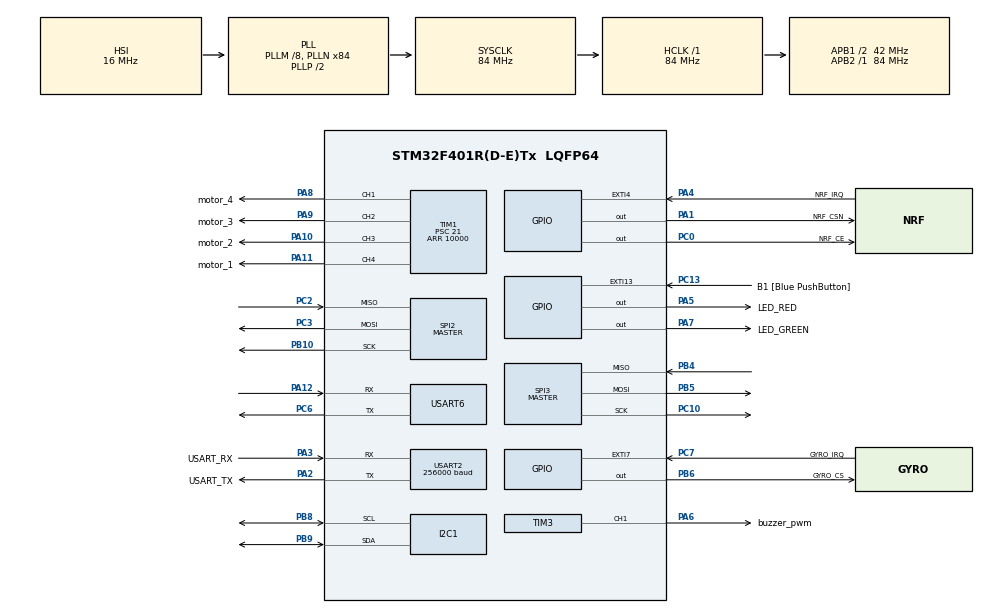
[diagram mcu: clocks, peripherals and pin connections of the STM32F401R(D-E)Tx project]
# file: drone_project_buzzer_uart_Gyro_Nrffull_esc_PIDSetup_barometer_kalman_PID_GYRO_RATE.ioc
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Mcu.Family=STM32F4
Mcu.Name=STM32F401R(D-E)Tx
Mcu.Package=LQFP64
NVIC.EXTI4_IRQn=true\:0\:0\:false\:false\:true\:true\:true\:true
NVIC.EXTI9_5_IRQn=true\:0\:0\:false\:false\:true\:true\:true\:true
NVIC.PriorityGroup=NVIC_PRIORITYGROUP_0
NVIC.TIM2_IRQn=true\:0\:0\:false\:false\:true\:true\:true\:true
NVIC.USART2_IRQn=true\:0\:0\:false\:false\:true\:true\:true\:true
PA1.GPIO_Label=NRF_CSN
PA1.Signal=GPIO_Output
PA10.GPIO_Label=motor_2
PA10.Signal=S_TIM1_CH3
PA11.GPIO_Label=motor_1
PA11.Signal=S_TIM1_CH4
PA12.Mode=Asynchronous
PA12.Signal=USART6_RX
PA13.GPIO_Label=TMS
PA13.Signal=SYS_JTMS-SWDIO
PA14.GPIO_Label=TCK
PA14.Signal=SYS_JTCK-SWCLK
PA2.GPIO_Label=USART_TX
PA2.GPIO_Mode=GPIO_MODE_AF_PP
PA2.GPIO_PuPd=GPIO_NOPULL
PA2.GPIO_Speed=GPIO_SPEED_FREQ_LOW
PA2.Mode=Asynchronous
PA2.Signal=USART2_TX
PA3.GPIO_Label=USART_RX
PA3.GPIO_Mode=GPIO_MODE_AF_PP
PA3.GPIO_PuPd=GPIO_NOPULL
PA3.GPIO_Speed=GPIO_SPEED_FREQ_LOW
PA3.Mode=Asynchronous
PA3.Signal=USART2_RX
PA4.GPIO_Label=NRF_IRQ
PA4.GPIO_ModeDefaultEXTI=GPIO_MODE_IT_FALLING
PA4.Signal=GPXTI4
PA5.GPIO_Label=LED_RED
PA5.GPIO_Mode=GPIO_MODE_OUTPUT_PP
PA5.GPIO_PuPd=GPIO_NOPULL
PA5.GPIO_Speed=GPIO_SPEED_FREQ_LOW
PA5.Signal=GPIO_Output
PA6.GPIO_Label=buzzer_pwm
PA6.Signal=S_TIM3_CH1
PA7.GPIO_Label=LED_GREEN
PA7.Signal=GPIO_Output
PA8.GPIO_Label=motor_4
PA8.Signal=S_TIM1_CH1
PA9.GPIO_Label=motor_3
PA9.Signal=S_TIM1_CH2
PB10.Mode=Full_Duplex_Master
PB10.Signal=SPI2_SCK
PB3.GPIO_Label=SWO
PB3.Signal=SYS_JTDO-SWO
PB4.Mode=Full_Duplex_Master
PB4.Signal=SPI3_MISO
PB5.Mode=Full_Duplex_Master
PB5.Signal=SPI3_MOSI
PB6.GPIO_Label=GYRO_CS
PB6.GPIO_PuPd=GPIO_NOPULL
PB6.Signal=GPIO_Output
PB8.GPIO_Pu=GPIO_PULLUP
PB8.Mode=I2C
PB8.Signal=I2C1_SCL
PB9.GPIO_Pu=GPIO_PULLUP
PB9.Mode=I2C
PB9.Signal=I2C1_SDA
PC0.GPIO_Label=NRF_CE
PC0.Signal=GPIO_Output
PC10.Mode=Full_Duplex_Master
PC10.Signal=SPI3_SCK
PC13-ANTI_TAMP.GPIO_Label=B1 [Blue PushButton]
PC13-ANTI_TAMP.GPIO_ModeDefaultEXTI=GPIO_MODE_IT_FALLING
PC13-ANTI_TAMP.GPIO_PuPd=GPIO_NOPULL
PC13-ANTI_TAMP.Signal=GPXTI13
PC14-OSC32_IN.Signal=RCC_OSC32_IN
PC15-OSC32_OUT.Signal=RCC_OSC32_OUT
PC2.Mode=Full_Duplex_Master
PC2.Signal=SPI2_MISO
PC3.Mode=Full_Duplex_Master
PC3.Signal=SPI2_MOSI
PC6.Mode=Asynchronous
PC6.Signal=USART6_TX
PC7.GPIO_Label=GYRO_IRQ
PC7.Signal=GPXTI7
PH0\ -\ OSC_IN.Mode=HSE-External-Clock-Source
PH0\ -\ OSC_IN.Signal=RCC_OSC_IN
PH1\ -\ OSC_OUT.Mode=HSE-External-Clock-Source
PH1\ -\ OSC_OUT.Signal=RCC_OSC_OUT
ProjectManager.HeapSize=0x200
ProjectManager.StackSize=0x400
ProjectManager.TargetToolchain=STM32CubeIDE
RCC.48MHZClocksFreq_Value=24000000
RCC.AHBFreq_Value=84000000
RCC.APB1CLKDivider=RCC_HCLK_DIV2
RCC.APB1Freq_Value=42000000
RCC.APB1TimFreq_Value=84000000
RCC.APB2Freq_Value=84000000
RCC.APB2TimFreq_Value=84000000
RCC.CortexFreq_Value=84000000
RCC.HCLKFreq_Value=84000000
RCC.HSE_VALUE=8000000
RCC.HSI_VALUE=16000000
RCC.LSE_VALUE=32768
RCC.PLLM=8
RCC.PLLN=84
RCC.PLLQ=7
RCC.SYSCLKFreq_VALUE=84000000
RCC.SYSCLKSource=RCC_SYSCLKSOURCE_PLLCLK
RCC.VCOOutputFreq_Value=168000000
SH.S_TIM1_CH1.0=TIM1_CH1,PWM Generation1 CH1
SH.S_TIM1_CH2.0=TIM1_CH2,PWM Generation2 CH2
SH.S_TIM1_CH3.0=TIM1_CH3,PWM Generation3 CH3
SH.S_TIM1_CH4.0=TIM1_CH4,PWM Generation4 CH4
SH.S_TIM3_CH1.0=TIM3_CH1,PWM Generation1 CH1
SPI2.BaudRatePrescaler=SPI_BAUDRATEPRESCALER_4
SPI2.Direction=SPI_DIRECTION_2LINES
SPI2.Mode=SPI_MODE_MASTER
SPI2.VirtualType=VM_MASTER
SPI3.BaudRatePrescaler=SPI_BAUDRATEPRESCALER_8
SPI3.Direction=SPI_DIRECTION_2LINES
SPI3.Mode=SPI_MODE_MASTER
SPI3.VirtualType=VM_MASTER
STMicroelectronics.X-CUBE-ALGOBUILD.1.3.0.LibraryCcDSPOoLibraryJjDSPOoLibrary=true
TIM1.AutoReloadPreload=TIM_AUTORELOAD_PRELOAD_ENABLE
TIM1.Channel-PWM\ Generation1\ CH1=TIM_CHANNEL_1
TIM1.Channel-PWM\ Generation2\ CH2=TIM_CHANNEL_2
TIM1.Channel-PWM\ Generation3\ CH3=TIM_CHANNEL_3
TIM1.Channel-PWM\ Generation4\ CH4=TIM_CHANNEL_4
TIM1.ClockDivision=TIM_CLOCKDIVISION_DIV1
TIM1.Period=10000
TIM1.Prescaler=21
TIM1.Pulse-PWM\ Generation1\ CH1=4000
TIM1.Pulse-PWM\ Generation2\ CH2=4000
TIM1.Pulse-PWM\ Generation3\ CH3=4000
TIM1.Pulse-PWM\ Generation4\ CH4=4000
TIM2.Period=84000
TIM3.AutoReloadPreload=TIM_AUTORELOAD_PRELOAD_ENABLE
TIM3.Channel-PWM\ Generation1\ CH1=TIM_CHANNEL_1
TIM3.Period=21
TIM3.Prescaler=999
TIM3.Pulse-PWM\ Generation1\ CH1=11
USART2.BaudRate=256000
USART2.VirtualMode=VM_ASYNC
USART6.VirtualMode=VM_ASYNC
VP_STMicroelectronics.X-CUBE-ALGOBUILD_VS_DSPOoLibraryJjLibrary_1.3.0_1.3.0.Mode=DSPOoLibraryJjLibrary
VP_TIM1_VS_ClockSourceINT.Mode=Internal
VP_TIM2_VS_ClockSourceINT.Mode=Internal
VP_TIM3_VS_ClockSourceINT.Mode=Internal
board=NUCLEO-F401RE

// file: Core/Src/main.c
/* USER CODE BEGIN Header */
/**
  ******************************************************************************
  * @file           : main.c
  * @brief          : Main program body
  ******************************************************************************
  * @attention
  *
  * Copyright (c) 2024 STMicroelectronics.
  * All rights reserved.
  *
  * This software is licensed under terms that can be found in the LICENSE file
  * in the root directory of this software component.
  * If no LICENSE file comes with this software, it is provided AS-IS.
  *
  ******************************************************************************
  */
/* USER CODE END Header */
#include "main.h"
#include "i2c.h"
#include "spi.h"
#include "tim.h"
#include "usart.h"
#include "gpio.h"

/* USER CODE BEGIN Includes */
#include <stdio.h>
#include "mpu6500.h"
#include "nrf24l01.h"
#include "fc.h"
#include <math.h>
#define ARM_MATH_CM4
#include "arm_math.h"
#include "kalman.h"
#include "pid.h"
//#define TRANSMITTER or RECEIVER
#define RECEIVER

/* USER CODE END Includes */

/* USER CODE BEGIN PV */

/////////////////// USART variables /////////////////////////////////////////////

uint16_t usart_data_req = 0 ;
uint8_t usart_rx_data  = 0;
uint8_t Transmitter_Rx_flag = 0;
uint8_t RxNumber = 10;
uint16_t RxBuffer[NRF24L01_PAYLOAD_LENGTH /2] = { 0};

float gx, gy, gz ;
float ax, ay, az ;
int16_t throttle = 0, yaw = 0, pitch = 0, roll = 0;

////////////////// TIMERS variables //////////////////////////////////////////////
uint8_t pid_1ms_flag = 0 ;
uint8_t esc_calib_flag = 0;
uint8_t arming_flag_2sec = 0 ;
uint8_t timer_counter_200ms = 0 ;
uint8_t timer_counter_flag_200ms = 0 ;
uint8_t mpu_update = 0;

uint32_t ccr1 = 0 ;
uint32_t ccr2 = 0 ;
uint32_t ccr3 = 0 ;
uint32_t ccr4 = 0 ;
//////////////////////////////////////////////////////////////////////////////////

float pitch_acc = 0 ;
float roll_acc = 0;

////////////////// Kalman variables //////////////////////////////////////////////
extern float kalman_angle_out_pitch[2] ;
extern float kalman_angle_out_roll[2]  ;
float kalman_state_roll = 0, kalman_uncertanity_roll = 2.3*2.3 ;
float kalman_state_pitch = 0, kalman_uncertanity_pitch = 2.3*2.3 ;
///////////////////////////////////////////////////////////////////////////////////

//////////////// PID varaiables ///////////////////////////////////////////////////

float pitch_previous = 0 ;
float roll_previous  = 0 ;
float yaw_previous = 0 ;

float pitch_D_previous = 0;
float roll_D_previous = 0;
float yaw_D_previous = 0;

float PID_rate_pitch_OUT = 0 ;
float PID_rate_yaw_OUT = 0 ;
float PID_rate_roll_OUT = 0 ;

/////////////////////////////////////////////////////////////////

float desired_angle_yaw   = 0 ;
float desired_angle_pitch = 0 ;
float desired_angle_roll  = 0 ;

///////////////////////////////////////////////////////////////////////////////////

/* USER CODE END PV */

void SystemClock_Config(void);
/* USER CODE BEGIN PFP */

void Custom_GPIO_EXTI_Callback(uint16_t GPIO_Pin);

/* USER CODE END PFP */

/* USER CODE BEGIN 0 */

int __io_putchar(int ch){
	while( !(LL_USART_IsActiveFlag_TXE(USART2))) ;
    LL_USART_TransmitData8(USART2, ch) ;
    return ch ;
}

void Custom_GPIO_EXTI_Callback(uint16_t GPIO_Pin) {
	if(GPIO_Pin == NRF_IRQ_Pin)
	{
		Transmitter_Rx_flag =1;
		NRF24L01_RxReceive((uint8_t *)RxBuffer, &RxNumber, 2000);

	}
}

/* USER CODE END 0 */

int main(void)
{

  /* MCU Configuration--------------------------------------------------------*/

  /* Reset of all peripherals, Initializes the Flash interface and the Systick. */
  HAL_Init();

  /* Configure the system clock */
  SystemClock_Config();

  /* Initialize all configured peripherals */
  MX_GPIO_Init();
  MX_SPI2_Init();
  MX_SPI3_Init();
  MX_TIM1_Init();
  MX_TIM3_Init();
  MX_USART2_UART_Init();
  MX_TIM2_Init();
  MX_USART6_UART_Init();
  MX_I2C1_Init();
  /* USER CODE BEGIN 2 */
  HAL_Init();
  LL_USART_EnableIT_RXNE(USART2) ;
//  BUZZER_POWER_UP(1)
  HAL_Delay(100) ;
  mpu_init(SPI3 , GFS_2000DPS ,AFS_16G) ;
  calib_mpu() ;
  _blink_lights(1)
  _wireless_setup(1)
  LL_TIM_EnableIT_UPDATE(TIM2) ;
  LL_TIM_EnableCounter(TIM2) ;

  /* USER CODE END 2 */

  /* Infinite loop */
  while (1)
  {

    /* USER CODE BEGIN 3 */

	  if (usart_data_req == 1 ) {
		usart_data_req = 0  ;
		usart_rx_data = LL_USART_ReceiveData8(USART2);
        LL_USART_TransmitData8(USART2, usart_rx_data) ;

	switch (usart_rx_data) {
		case '0':
			 LL_GPIO_TogglePin(LED_RED_GPIO_Port, LED_RED_Pin | LED_GREEN_Pin);
			break;
		case '1':
			 LL_TIM_CC_EnableChannel(TIM3, LL_TIM_CHANNEL_CH1);
			break;
		case '2':
			 LL_TIM_CC_DisableChannel(TIM3, LL_TIM_CHANNEL_CH1);
			break;
		case '3' :
			esc_calib_flag = 1;
			BUZZER_CALIB_MODE(1) ;
			break ;

       }
	}

  if (Transmitter_Rx_flag == 1) {
	  throttle = RxBuffer[0] ;
	  throttle = throttle < 4 ? 0 : throttle ;
	  throttle = throttle >4001 ? 4000 : throttle ;

	  yaw      = RxBuffer[1] - (uint16_t)2050 ;
	  yaw  = (( 8 > yaw )&&( yaw > -6 ))? 0 : yaw ;
      yaw  = yaw > 2001? 2000 : yaw;
      yaw  = yaw < -2001? -2000 : yaw;

	  pitch    = RxBuffer[2] - (uint16_t)2065 ;
	  pitch  = (( 8 > pitch) &&( pitch > -4 ))? 0 : pitch ;
	  pitch  = pitch > 2001? 2000 : pitch;
	  pitch  = pitch < -2001? -2000 : pitch;

	  if (RxBuffer[3] == 8000) {
		  _esc_desetup_(1) ;
		  RxBuffer[3]= 2110 ;
		  arming_flag_2sec = 0 ;
		  BUZZER_UNARMED(1) ;
		  LL_GPIO_ResetOutputPin(LED_GREEN_GPIO_Port, LED_GREEN_Pin) ;

		}else{
		  roll = RxBuffer[3] - (uint16_t)2110 ;
		}
	  roll  = (( 5 > roll )&&( roll > -5) )? 0 : roll;
	  roll  = roll> 2001? 2000 : roll;
	  roll  = roll< -2001? -2000 : roll;

	  desired_angle_pitch = pitch*0.0150 ;
	  desired_angle_roll = roll *0.0150 ;
	  desired_angle_yaw = yaw *0.0150 ;

	  Transmitter_Rx_flag = 0;
   }

	if (arming_flag_2sec == 0 && (( throttle <= 0 ) && (yaw >= 1950) && (pitch <= -1950) && (roll >= 1950))) {
	  // allow the motors to turn on
	  HAL_Delay(1000) ;
	  if (arming_flag_2sec == 0 && (( throttle <= 0 ) && (yaw >= 1950) && (pitch <= -1950) && (roll >= 1950))) {
	      BUZZER_ARMED(1) ;
	      arming_flag_2sec = 1;
	      LL_GPIO_SetOutputPin(LED_GREEN_GPIO_Port, LED_GREEN_Pin) ;
	      _esc_setup_(1) ;
	  }
}

  if (arming_flag_2sec == 1 && (( throttle <= 0 ) && (yaw <= -1950)&& (pitch <= -1950) && (roll <= -1950))) {
	  // allow the motors to turn off
	  _esc_desetup_(1) ;
	  arming_flag_2sec = 0 ;
	  BUZZER_UNARMED(1) ;
	  LL_GPIO_ResetOutputPin(LED_GREEN_GPIO_Port, LED_GREEN_Pin) ;

}

//  acc_gravity = ( -cosf(pitch_acc)*ax + ay*(cosf(pitch_acc) * sinf(roll_acc)) + az*(cosf(pitch_acc) * cosf(roll_acc) ) ) ;
//	acc_gravity = (acc_gravity - 1)* 9.81*100 ;
//	vertical_velocity = vertical_velocity + acc_gravity*0.001 ;

	if (mpu_update == 1) {
		mpu_update = 0 ;
		readSensor() ;
		getGyro(&gx, &gy, &gz) ;
		gx = -gx ;
		gz = -gz ;
		getAccel(&ax, &ay, &az) ;

	   }

  if (pid_1ms_flag == 1) {
  	pid_1ms_flag = 0 ;
  	LL_GPIO_TogglePin(LED_RED_GPIO_Port, LED_RED_Pin);

    roll_acc = atan2f(-ax , sqrtf(((ay*ay) + (az*az)))) ;
    pitch_acc = -1.0*atan2f(ay , sqrtf(((ax *ax) + (az*az)))) ;
  	kalman_angle(kalman_state_pitch, kalman_uncertanity_pitch, gx, pitch_acc*RAD_TO_DEG , kalman_angle_out_pitch) ;
  	kalman_state_pitch = kalman_angle_out_pitch [0] ;
  	kalman_uncertanity_pitch = kalman_angle_out_pitch [1] ;

  	kalman_angle(kalman_state_roll, kalman_uncertanity_roll, gy, roll_acc*RAD_TO_DEG, kalman_angle_out_roll) ;
  	kalman_state_roll = kalman_angle_out_roll[0] ;
  	kalman_uncertanity_roll = kalman_angle_out_roll[1] ;

  	// pid here
  	PID_rate_pitch_OUT = pid_single_loop_update((desired_angle_pitch - pitch_g), &pitch_previous, pitch_g, &pitch_D_previous);
//  	PID_rate_pitch_OUT = PID_rate_pitch_OUT > 1000 ? 1000 : PID_rate_pitch_OUT <= -1000 ? -1000 : PID_rate_pitch_OUT ;

  	PID_rate_roll_OUT = pid_single_loop_update((desired_angle_roll - roll_g ), &roll_previous , roll_g, &roll_D_previous);
//  	PID_rate_roll_OUT = PID_rate_roll_OUT > 1000 ? 1000 : PID_rate_roll_OUT <= -1000 ? -1000 : PID_rate_roll_OUT ;

  	PID_rate_yaw_OUT = pid_single_loop_update((desired_angle_yaw - yaw_g ), &yaw_previous , yaw_g, &yaw_D_previous);
//  	PID_rate_yaw_OUT = PID_rate_yaw_OUT > 1000 ? 1000 : PID_rate_yaw_OUT <= -1000 ? -1000 : PID_rate_yaw_OUT ;

	ccr1 = 4000 +         (throttle)/1.6 - PID_rate_pitch_OUT - PID_rate_roll_OUT - PID_rate_yaw_OUT ;
	ccr2 = 4000 + (0.90 *((throttle)/1.6 + PID_rate_pitch_OUT + PID_rate_roll_OUT - PID_rate_yaw_OUT )) ;
	ccr3 = 4000 +         (throttle)/1.6 - PID_rate_pitch_OUT + PID_rate_roll_OUT + PID_rate_yaw_OUT ;
	ccr4 = 4000 +         (throttle)/1.6 + PID_rate_pitch_OUT - PID_rate_roll_OUT + PID_rate_yaw_OUT ;

  }

  if (arming_flag_2sec == 1) {

	  TIM1->CCR1 = ccr1 > 8001 ? 8000 : ccr1 <= 4400 ? 4400 : ccr1 ;
	  TIM1->CCR2 = ccr2 > 8001 ? 8000 : ccr2 <= 4400 ? 4400 : ccr2 ;
	  TIM1->CCR3 = ccr3 > 8001 ? 8000 : ccr3 <= 4400 ? 4400 : ccr3 ;
	  TIM1->CCR4 = ccr4 > 8001 ? 8000 : ccr4 <= 4400 ? 4400 : ccr4 ;

  }else{

	  TIM1->CCR1 = 4000 ;
	  TIM1->CCR2 = 4000 ;
	  TIM1->CCR3 = 4000 ;
	  TIM1->CCR4 = 4000 ;
}

  if (timer_counter_flag_200ms ) {

//	  printf("pitch_g  %f  , roll_g  %f  , roll %d  , pitch %d \n " ,kalman_state_pitch, kalman_state_roll , roll , pitch ) ;
//	  printf("%f,%f\n " ,kalman_angle_out_pitch[0] , kalman_angle_out_roll[0]) ;
//	  printf("pitch : %d   roll : %d   yaw : %d , des_rate_pitch %f  , des_rate_roll %f , des_angle_pitch %f , des_angle_roll %f  \n " ,
//    pitch , roll , yaw , desire_pitch_rate, desire_roll_rate ,desire_pitch_angle , desire_roll_angle ) ;

	  timer_counter_flag_200ms = 0;
  }

  if (esc_calib_flag == 1 ) {

  }

  }

  /* USER CODE END 3 */
}

void SystemClock_Config(void)
{
  RCC_OscInitTypeDef RCC_OscInitStruct = {0};
  RCC_ClkInitTypeDef RCC_ClkInitStruct = {0};

  /** Configure the main internal regulator output voltage
  */
  __HAL_RCC_PWR_CLK_ENABLE();
  __HAL_PWR_VOLTAGESCALING_CONFIG(PWR_REGULATOR_VOLTAGE_SCALE2);

  /** Initializes the RCC Oscillators according to the specified parameters
  * in the RCC_OscInitTypeDef structure.
  */
  RCC_OscInitStruct.OscillatorType = RCC_OSCILLATORTYPE_HSI;
  RCC_OscInitStruct.HSIState = RCC_HSI_ON;
  RCC_OscInitStruct.HSICalibrationValue = RCC_HSICALIBRATION_DEFAULT;
  RCC_OscInitStruct.PLL.PLLState = RCC_PLL_ON;
  RCC_OscInitStruct.PLL.PLLSource = RCC_PLLSOURCE_HSI;
  RCC_OscInitStruct.PLL.PLLM = 8;
  RCC_OscInitStruct.PLL.PLLN = 84;
  RCC_OscInitStruct.PLL.PLLP = RCC_PLLP_DIV2;
  RCC_OscInitStruct.PLL.PLLQ = 7;
  if (HAL_RCC_OscConfig(&RCC_OscInitStruct) != HAL_OK)
  {
    Error_Handler();
  }

  /** Initializes the CPU, AHB and APB buses clocks
  */
  RCC_ClkInitStruct.ClockType = RCC_CLOCKTYPE_HCLK|RCC_CLOCKTYPE_SYSCLK
                              |RCC_CLOCKTYPE_PCLK1|RCC_CLOCKTYPE_PCLK2;
  RCC_ClkInitStruct.SYSCLKSource = RCC_SYSCLKSOURCE_PLLCLK;
  RCC_ClkInitStruct.AHBCLKDivider = RCC_SYSCLK_DIV1;
  RCC_ClkInitStruct.APB1CLKDivider = RCC_HCLK_DIV2;
  RCC_ClkInitStruct.APB2CLKDivider = RCC_HCLK_DIV1;

  if (HAL_RCC_ClockConfig(&RCC_ClkInitStruct, FLASH_LATENCY_2) != HAL_OK)
  {
    Error_Handler();
  }
}

void Error_Handler(void)
{
  __disable_irq();
  while (1)
  {
  }
}
